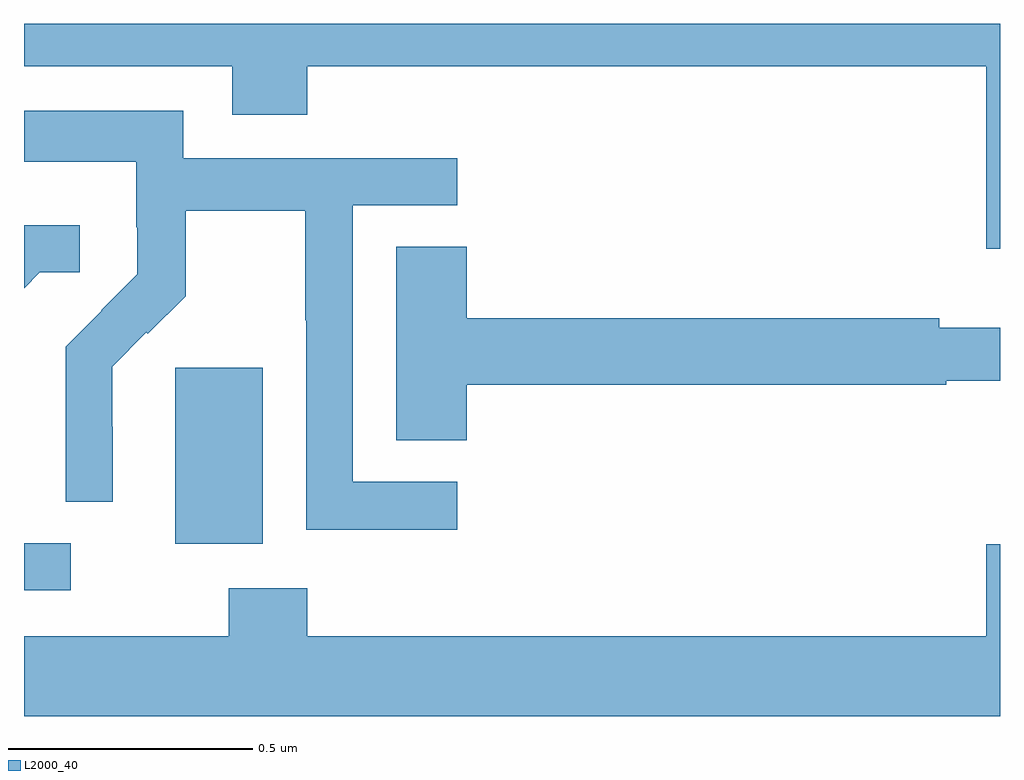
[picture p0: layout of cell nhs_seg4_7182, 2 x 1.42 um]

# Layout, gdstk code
import gdstk
lib = gdstk.Library(unit=1e-6, precision=1e-09)
def R(c, l, rs):  # rectangles x0, y0, x1, y1
    for r in rs: c.add(gdstk.rectangle(r[:2], r[2:], *l))
def P(c, l, *ps):  # polygons
    for p in ps: c.add(gdstk.Polygon(p, *l))
L2000_40 = (2000, 40)

nhs_seg4_7182 = lib.new_cell('nhs_seg4_7182')
R(nhs_seg4_7182, L2000_40, [(199,803.739,199.096,803.835), (199.31,803.834,199.489,804.195)])
P(nhs_seg4_7182, L2000_40, [(201,804.9),(199,804.9),(199,804.812),(199.427,804.812),(199.427,804.713),(199.58,804.713),(199.58,804.812),(200.972,804.812),(200.972,804.438),(201,804.438)],
  [(199.888,803.961),(199.674,803.961),(199.674,804.528),(199.888,804.528),(199.888,804.624),(199.326,804.624),(199.326,804.721),(199,804.721),(199,804.617),(199.23,804.617),(199.23,804.483),(199.232,804.483),(199.232,804.386),(199.158,804.312),(199.159,804.311),(199.086,804.238),(199.086,803.92),(199.182,803.92),(199.182,804.074),(199.181,804.074),(199.181,804.197),(199.251,804.267),(199.254,804.264),(199.331,804.341),(199.331,804.516),(199.576,804.516),(199.576,804.292),(199.578,804.292),(199.578,803.863),(199.888,803.863)],
  [(199.032,804.39),(199.114,804.39),(199.114,804.487),(199,804.487),(199,804.358)],
  [(199.907,804.16),(200.89,804.16),(200.89,804.168),(201,804.168),(201,804.277),(200.876,804.277),(200.876,804.296),(199.907,804.296),(199.907,804.443),(199.763,804.443),(199.763,804.046),(199.907,804.046)],
  [(201,803.833),(200.972,803.833),(200.972,803.644),(199.58,803.644),(199.58,803.743),(199.42,803.743),(199.42,803.644),(199,803.644),(199,803.48),(201,803.48)])

lib.write_gds('nhs_seg4_7182.gds')
